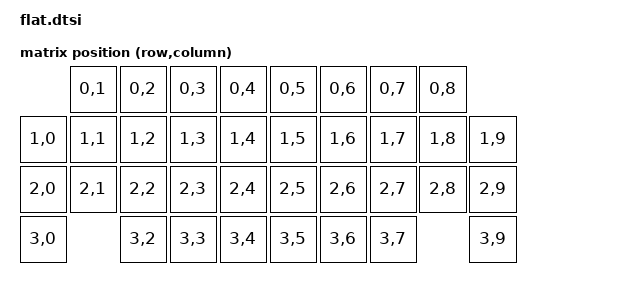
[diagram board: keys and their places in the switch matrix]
#include <behaviors/default_layer.dtsi>
#include <dt-bindings/zmk/matrix_transform.h>
#include "flat-layouts.dtsi"

&xiao_i2c { status = "disabled"; };
&xiao_serial { status = "disabled"; };

&physical_layout0 {
  transform = <&default_transform>;
};

/ {
  chosen {
    zmk,physical-layout = &physical_layout0;
    zmk,battery = &vbatt;
  };

  default_transform: keymap_transform_0 {
    compatible = "zmk,matrix-transform";
    columns = <10>;
    rows = <4>;
    map = <
                RC(0,1) RC(0,2) RC(0,3) RC(0,4)    RC(0,5) RC(0,6) RC(0,7) RC(0,8)
        RC(1,0) RC(1,1) RC(1,2) RC(1,3) RC(1,4)    RC(1,5) RC(1,6) RC(1,7) RC(1,8) RC(1,9)
        RC(2,0) RC(2,1) RC(2,2) RC(2,3) RC(2,4)    RC(2,5) RC(2,6) RC(2,7) RC(2,8) RC(2,9)
        RC(3,0)         RC(3,2) RC(3,3) RC(3,4)    RC(3,5) RC(3,6) RC(3,7)         RC(3,9)
    >;
  };

  kscan0: kscan0 {
    compatible= "zmk,kscan-gpio-matrix";
    diode-direction = "col2row";
    wakeup-source;
  };
};

&vbatt {
    output-ohms = <470000>;
    full-ohms = <(1000000 + 470000)>;
    mv-to-pct-thresholds = <1100 1100 1150 1180 1200 1220 1240 1260 1300 1400 1500>;
}
